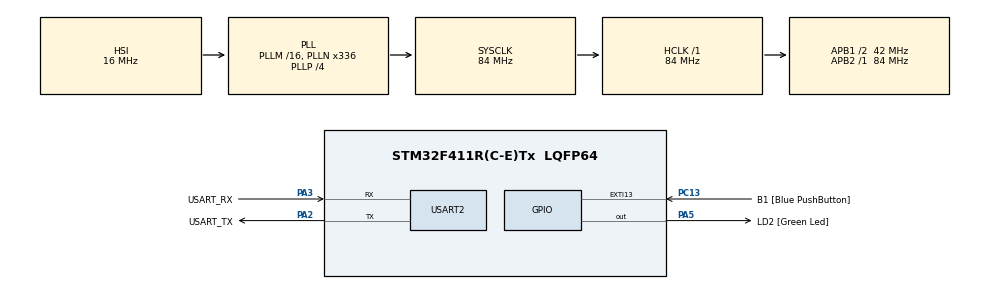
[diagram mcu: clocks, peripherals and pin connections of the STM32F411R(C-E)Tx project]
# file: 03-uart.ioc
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Mcu.Family=STM32F4
Mcu.Name=STM32F411R(C-E)Tx
Mcu.Package=LQFP64
NVIC.PriorityGroup=NVIC_PRIORITYGROUP_0
PA13.GPIO_Label=TMS
PA13.Mode=Serial_Wire
PA13.Signal=SYS_JTMS-SWDIO
PA14.GPIO_Label=TCK
PA14.Mode=Serial_Wire
PA14.Signal=SYS_JTCK-SWCLK
PA2.GPIO_Label=USART_TX
PA2.Mode=Asynchronous
PA2.Signal=USART2_TX
PA3.GPIO_Label=USART_RX
PA3.Mode=Asynchronous
PA3.Signal=USART2_RX
PA5.GPIO_Label=LD2 [Green Led]
PA5.Signal=GPIO_Output
PB3.GPIO_Label=SWO
PB3.Signal=SYS_JTDO-SWO
PC13-ANTI_TAMP.GPIO_Label=B1 [Blue PushButton]
PC13-ANTI_TAMP.GPIO_ModeDefaultEXTI=GPIO_MODE_IT_FALLING
PC13-ANTI_TAMP.Signal=GPXTI13
PC14-OSC32_IN.Mode=LSE-External-Oscillator
PC14-OSC32_IN.Signal=RCC_OSC32_IN
PC15-OSC32_OUT.Mode=LSE-External-Oscillator
PC15-OSC32_OUT.Signal=RCC_OSC32_OUT
PH0\ -\ OSC_IN.Mode=HSE-External-Clock-Source
PH0\ -\ OSC_IN.Signal=RCC_OSC_IN
PH1\ -\ OSC_OUT.Mode=HSE-External-Clock-Source
PH1\ -\ OSC_OUT.Signal=RCC_OSC_OUT
ProjectManager.HeapSize=0x200
ProjectManager.StackSize=0x400
ProjectManager.TargetToolchain=STM32CubeIDE
RCC.48MHZClocksFreq_Value=84000000
RCC.AHBFreq_Value=84000000
RCC.APB1CLKDivider=RCC_HCLK_DIV2
RCC.APB1Freq_Value=42000000
RCC.APB1TimFreq_Value=84000000
RCC.APB2Freq_Value=84000000
RCC.APB2TimFreq_Value=84000000
RCC.CortexFreq_Value=84000000
RCC.FLatency-AdvancedSettings=FLASH_LATENCY_2
RCC.HCLKFreq_Value=84000000
RCC.HSE_VALUE=8000000
RCC.HSI_VALUE=16000000
RCC.PLLN=336
RCC.PLLP=RCC_PLLP_DIV4
RCC.SYSCLKFreq_VALUE=84000000
RCC.SYSCLKSource=RCC_SYSCLKSOURCE_PLLCLK
RCC.VCOOutputFreq_Value=336000000
USART2.VirtualMode=VM_ASYNC
board=NUCLEO-F411RE

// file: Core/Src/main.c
/* USER CODE BEGIN Header */
/**
  ******************************************************************************
  * @file           : main.c
  * @brief          : Main program body
  ******************************************************************************
  * @attention
  *
  * Copyright (c) 2026 STMicroelectronics.
  * All rights reserved.
  *
  * This software is licensed under terms that can be found in the LICENSE file
  * in the root directory of this software component.
  * If no LICENSE file comes with this software, it is provided AS-IS.
  *
  ******************************************************************************
  */
/* USER CODE END Header */
#include "main.h"

/* USER CODE BEGIN Includes */
#include <string.h>
/* USER CODE END Includes */

UART_HandleTypeDef huart2;

void SystemClock_Config(void);
static void MX_GPIO_Init(void);
static void MX_USART2_UART_Init(void);

/* USER CODE BEGIN 0 */
void uart_putc(char c) {
	while (!(USART2->SR & (1 << 7)));
	USART2->DR = c;
}

void uart_puts(const char *s) {
	while (*s) {
		uart_putc(*s);
		s++;
	}
}

/* USER CODE END 0 */

int main(void)
{

  /* USER CODE BEGIN 1 */
	uint8_t prev = 1;
  /* USER CODE END 1 */

  /* MCU Configuration--------------------------------------------------------*/

  /* Reset of all peripherals, Initializes the Flash interface and the Systick. */
  HAL_Init();

  /* Configure the system clock */
  SystemClock_Config();

  /* Initialize all configured peripherals */
  MX_GPIO_Init();
  MX_USART2_UART_Init();
  /* USER CODE BEGIN 2 */
  uart_puts("\033[2J\033[H");
  /* USER CODE END 2 */

  /* Infinite loop */
  while (1)
  {

    /* USER CODE BEGIN 3 */
	  uint8_t now = (GPIOC->IDR >> 13) & 1;
	  if (prev == 1 && now == 0) {
		  uart_puts("pressed\r\n");
		  GPIOA->ODR ^= (1 << 5);
	  }
	  prev = now;
  }
  /* USER CODE END 3 */
}

void SystemClock_Config(void)
{
  RCC_OscInitTypeDef RCC_OscInitStruct = {0};
  RCC_ClkInitTypeDef RCC_ClkInitStruct = {0};

  /** Configure the main internal regulator output voltage
  */
  __HAL_RCC_PWR_CLK_ENABLE();
  __HAL_PWR_VOLTAGESCALING_CONFIG(PWR_REGULATOR_VOLTAGE_SCALE1);

  /** Initializes the RCC Oscillators according to the specified parameters
  * in the RCC_OscInitTypeDef structure.
  */
  RCC_OscInitStruct.OscillatorType = RCC_OSCILLATORTYPE_HSI;
  RCC_OscInitStruct.HSIState = RCC_HSI_ON;
  RCC_OscInitStruct.HSICalibrationValue = RCC_HSICALIBRATION_DEFAULT;
  RCC_OscInitStruct.PLL.PLLState = RCC_PLL_ON;
  RCC_OscInitStruct.PLL.PLLSource = RCC_PLLSOURCE_HSI;
  RCC_OscInitStruct.PLL.PLLM = 16;
  RCC_OscInitStruct.PLL.PLLN = 336;
  RCC_OscInitStruct.PLL.PLLP = RCC_PLLP_DIV4;
  RCC_OscInitStruct.PLL.PLLQ = 4;
  if (HAL_RCC_OscConfig(&RCC_OscInitStruct) != HAL_OK)
  {
    Error_Handler();
  }

  /** Initializes the CPU, AHB and APB buses clocks
  */
  RCC_ClkInitStruct.ClockType = RCC_CLOCKTYPE_HCLK|RCC_CLOCKTYPE_SYSCLK
                              |RCC_CLOCKTYPE_PCLK1|RCC_CLOCKTYPE_PCLK2;
  RCC_ClkInitStruct.SYSCLKSource = RCC_SYSCLKSOURCE_PLLCLK;
  RCC_ClkInitStruct.AHBCLKDivider = RCC_SYSCLK_DIV1;
  RCC_ClkInitStruct.APB1CLKDivider = RCC_HCLK_DIV2;
  RCC_ClkInitStruct.APB2CLKDivider = RCC_HCLK_DIV1;

  if (HAL_RCC_ClockConfig(&RCC_ClkInitStruct, FLASH_LATENCY_2) != HAL_OK)
  {
    Error_Handler();
  }
}

static void MX_USART2_UART_Init(void)
{

  huart2.Instance = USART2;
  huart2.Init.BaudRate = 115200;
  huart2.Init.WordLength = UART_WORDLENGTH_8B;
  huart2.Init.StopBits = UART_STOPBITS_1;
  huart2.Init.Parity = UART_PARITY_NONE;
  huart2.Init.Mode = UART_MODE_TX_RX;
  huart2.Init.HwFlowCtl = UART_HWCONTROL_NONE;
  huart2.Init.OverSampling = UART_OVERSAMPLING_16;
  if (HAL_UART_Init(&huart2) != HAL_OK)
  {
    Error_Handler();
  }

}

static void MX_GPIO_Init(void)
{
  GPIO_InitTypeDef GPIO_InitStruct = {0};

  /* GPIO Ports Clock Enable */
  __HAL_RCC_GPIOC_CLK_ENABLE();
  __HAL_RCC_GPIOH_CLK_ENABLE();
  __HAL_RCC_GPIOA_CLK_ENABLE();
  __HAL_RCC_GPIOB_CLK_ENABLE();

  /*Configure GPIO pin Output Level */
  HAL_GPIO_WritePin(LD2_GPIO_Port, LD2_Pin, GPIO_PIN_RESET);

  /*Configure GPIO pin : B1_Pin */
  GPIO_InitStruct.Pin = B1_Pin;
  GPIO_InitStruct.Mode = GPIO_MODE_IT_FALLING;
  GPIO_InitStruct.Pull = GPIO_NOPULL;
  HAL_GPIO_Init(B1_GPIO_Port, &GPIO_InitStruct);

  /*Configure GPIO pin : LD2_Pin */
  GPIO_InitStruct.Pin = LD2_Pin;
  GPIO_InitStruct.Mode = GPIO_MODE_OUTPUT_PP;
  GPIO_InitStruct.Pull = GPIO_NOPULL;
  GPIO_InitStruct.Speed = GPIO_SPEED_FREQ_LOW;
  HAL_GPIO_Init(LD2_GPIO_Port, &GPIO_InitStruct);

}

void Error_Handler(void)
{
  __disable_irq();
  while (1)
  {
  }
}
